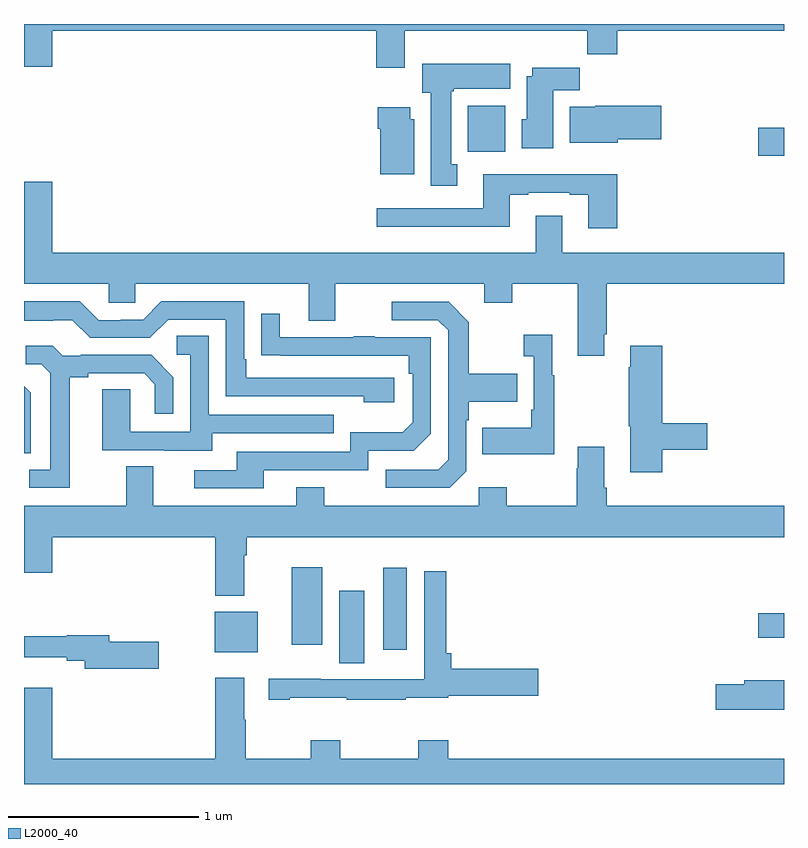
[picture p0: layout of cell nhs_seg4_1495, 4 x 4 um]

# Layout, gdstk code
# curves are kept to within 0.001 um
import gdstk
lib = gdstk.Library(unit=1e-6, precision=1e-09)
def R(c, l, rs):  # rectangles x0, y0, x1, y1
    for r in rs: c.add(gdstk.rectangle(r[:2], r[2:], *l))
def P(c, l, *ps):  # polygons
    for p in ps: c.add(gdstk.Polygon(p, *l))
L2000_40 = (2000, 40)

nhs_seg4_1495 = lib.new_cell('nhs_seg4_1495')
R(nhs_seg4_1495, L2000_40, [(190.658,749.536,190.792,749.917), (190.004,749.594,190.231,749.806), (190.892,749.607,191.014,750.037), (190.409,749.634,190.57,750.04), (192.864,749.669,193,749.799), (192.864,752.207,193,752.354), (191.336,752.228,191.533,752.47)])
P(nhs_seg4_1495, L2000_40, [(191.005,752.864),(191.965,752.864),(191.965,752.74),(192.122,752.74),(192.122,752.864),(193,752.864),(193,752.9),(189,752.9),(189,752.676),(189.148,752.676),(189.148,752.864),(190.853,752.864),(190.853,752.67),(191.005,752.67)],
  [(191.281,752.162),(191.248,752.162),(191.248,752.545),(191.262,752.545),(191.262,752.558),(191.56,752.558),(191.56,752.692),(191.096,752.692),(191.096,752.538),(191.141,752.538),(191.141,752.049),(191.281,752.049)],
  [(191.785,752.552),(191.924,752.552),(191.924,752.671),(191.675,752.671),(191.675,752.626),(191.645,752.626),(191.645,752.4),(191.621,752.4),(191.621,752.246),(191.785,752.246)],
  [(192.124,752.294),(192.355,752.294),(192.355,752.47),(192.006,752.47),(192.006,752.464),(191.873,752.464),(191.873,752.276),(192.124,752.276)],
  [(191.053,752.4),(191.032,752.4),(191.032,752.461),(190.862,752.461),(190.862,752.348),(190.874,752.348),(190.874,752.108),(191.053,752.108)],
  [(192.122,752.11),(191.417,752.11),(191.417,751.929),(190.857,751.929),(190.857,751.832),(191.557,751.832),(191.557,752.001),(191.653,752.001),(191.653,752.013),(191.873,752.013),(191.873,752.001),(191.969,752.001),(191.969,751.824),(192.122,751.824)],
  [(192.055,751.267),(192.068,751.267),(192.068,751.532),(193,751.532),(193,751.696),(191.833,751.696),(191.833,751.891),(191.693,751.891),(191.693,751.696),(189.148,751.696),(189.148,752.071),(189,752.071),(189,751.532),(189.447,751.532),(189.447,751.434),(189.585,751.434),(189.585,751.532),(190.499,751.532),(190.499,751.338),(190.639,751.338),(190.639,751.532),(191.423,751.532),(191.423,751.433),(191.571,751.433),(191.571,751.532),(191.915,751.532),(191.915,751.155),(192.055,751.155)],
  [(190.948,751.038),(190.171,751.038),(190.171,751.135),(190.158,751.135),(190.158,751.44),(189.723,751.44),(189.627,751.344),(189.509,751.344),(189.509,751.341),(189.393,751.341),(189.293,751.441),(189,751.441),(189,751.337),(189.155,751.337),(189.155,751.341),(189.255,751.341),(189.348,751.248),(189.663,751.248),(189.759,751.344),(190.062,751.344),(190.062,750.942),(190.787,750.942),(190.787,750.908),(190.948,750.908)],
  [(191.328,750.546),(191.328,750.815),(191.341,750.815),(191.341,750.911),(191.597,750.911),(191.597,751.059),(191.341,751.059),(191.341,751.331),(191.235,751.437),(190.935,751.437),(190.935,751.341),(191.178,751.341),(191.232,751.287),(191.232,750.606),(191.181,750.555),(190.905,750.555),(190.905,750.459),(191.241,750.459)],
  [(190.261,750.552),(190.812,750.552),(190.812,750.654),(191.052,750.654),(191.142,750.744),(191.142,751.251),(190.847,751.251),(190.847,751.256),(190.735,751.256),(190.735,751.251),(190.345,751.251),(190.345,751.375),(190.249,751.375),(190.249,751.156),(191.026,751.155),(191.026,751.058),(191.046,751.058),(191.046,750.804),(190.993,750.751),(190.716,750.751),(190.716,750.648),(190.121,750.648),(190.121,750.552),(189.897,750.552),(189.897,750.456),(190.261,750.456)],
  [(191.791,751.051),(191.779,751.051),(191.779,751.264),(191.631,751.264),(191.631,751.151),(191.682,751.151),(191.682,750.871),(191.67,750.871),(191.67,750.775),(191.413,750.775),(191.413,750.635),(191.791,750.635)],
  [(189.991,750.747),(190.631,750.747),(190.631,750.843),(189.972,750.843),(189.972,751.259),(189.804,751.259),(189.804,751.158),(189.876,751.158),(189.876,750.753),(189.558,750.753),(189.558,750.977),(189.413,750.977),(189.413,750.657),(189.737,750.657),(189.737,750.653),(189.991,750.653)],
  [(192.359,750.658),(192.595,750.658),(192.595,750.8),(192.359,750.8),(192.359,751.207),(192.191,751.207),(192.191,751.094),(192.184,751.094),(192.184,750.783),(192.191,750.783),(192.191,750.54),(192.359,750.54)],
  [(189.241,751.04),(189.337,751.04),(189.337,751.062),(189.632,751.062),(189.689,751.005),(189.689,750.849),(189.786,750.849),(189.786,751.042),(189.67,751.158),(189.298,751.158),(189.298,751.155),(189.204,751.155),(189.152,751.207),(189.009,751.207),(189.009,751.11),(189.09,751.11),(189.137,751.063),(189.137,750.555),(189.027,750.555),(189.027,750.459),(189.241,750.459)],
  [(189.036,750.958),(189,750.994),(189,750.64),(189.036,750.64)],
  [(190.159,750.104),(190.172,750.104),(190.172,750.2),(193,750.2),(193,750.364),(192.068,750.364),(192.068,750.46),(192.055,750.46),(192.055,750.676),(191.915,750.676),(191.915,750.563),(191.908,750.563),(191.908,750.364),(191.541,750.364),(191.541,750.463),(191.394,750.463),(191.394,750.364),(190.581,750.364),(190.581,750.463),(190.433,750.463),(190.433,750.364),(189.679,750.364),(189.679,750.572),(189.539,750.572),(189.539,750.364),(189,750.364),(189,750.012),(189.148,750.012),(189.148,750.2),(190.007,750.2),(190.007,749.891),(190.159,749.891)],
  [(190.399,749.353),(190.699,749.353),(190.699,749.343),(191.009,749.343),(191.009,749.353),(191.232,749.353),(191.232,749.365),(191.707,749.365),(191.707,749.507),(191.249,749.507),(191.249,749.587),(191.222,749.587),(191.222,750.019),(191.106,750.019),(191.106,749.452),(190.896,749.452),(190.896,749.451),(190.562,749.451),(190.562,749.453),(190.287,749.453),(190.287,749.343),(190.399,749.343)],
  [(189.709,749.648),(189.448,749.648),(189.448,749.684),(189.224,749.684),(189.224,749.677),(189,749.677),(189,749.567),(189.224,749.567),(189.224,749.548),(189.32,749.548),(189.32,749.506),(189.709,749.506)],
  [(193,749.032),(191.234,749.032),(191.234,749.131),(191.074,749.131),(191.074,749.032),(190.665,749.032),(190.665,749.131),(190.51,749.131),(190.51,749.032),(190.167,749.032),(190.167,749.237),(190.159,749.237),(190.159,749.458),(190.007,749.458),(190.007,749.032),(189.148,749.032),(189.148,749.407),(189,749.407),(189,748.9),(193,748.9)],
  [(193,749.445),(192.791,749.445),(192.791,749.426),(192.642,749.426),(192.642,749.291),(193,749.291)])

lib.write_gds('nhs_seg4_1495.gds')
